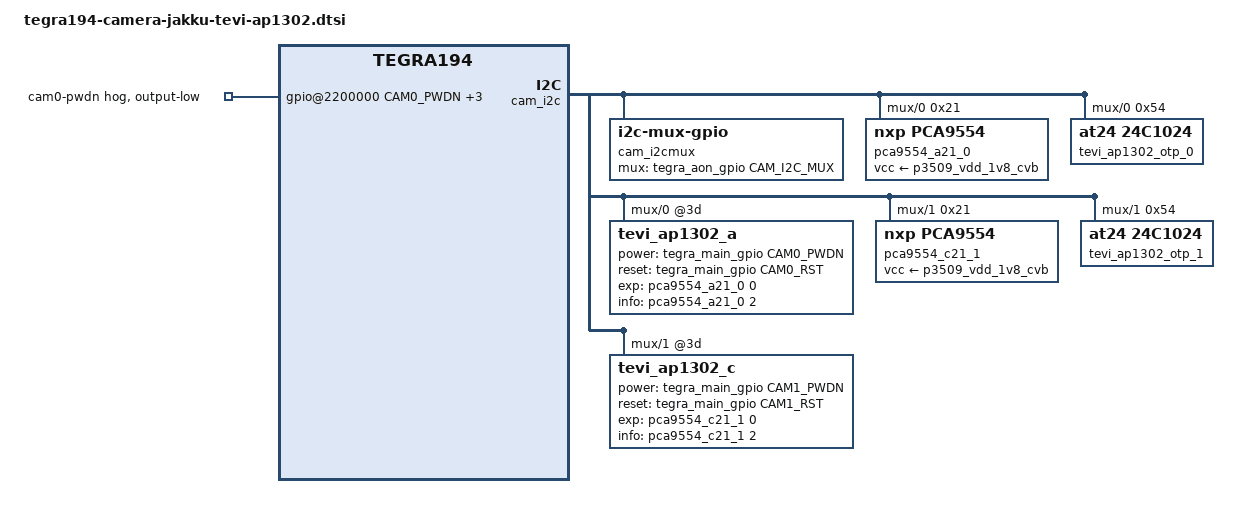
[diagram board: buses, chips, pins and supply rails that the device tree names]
/*
 * Copyright (c) 2018-2020, NVIDIA CORPORATION.  All rights reserved.
 *
 * This program is free software; you can redistribute it and/or modify
 * it under the terms of the GNU General Public License as published by
 * the Free Software Foundation; either version 2 of the License, or
 * (at your option) any later version.
 *
 * This program is distributed in the hope that it will be useful, but WITHOUT
 * ANY WARRANTY; without even the implied warranty of MERCHANTABILITY or
 * FITNESS FOR A PARTICULAR PURPOSE.  See the GNU General Public License for
 * more details.
 *
 * You should have received a copy of the GNU General Public License
 * along with this program.  If not, see <http://www.gnu.org/licenses/>.
 */

#include "tegra194-camera-tevi-ap1302.dtsi"

#define CAM0_PWDN	TEGRA194_MAIN_GPIO(P, 4)
#define CAM0_RST	TEGRA194_MAIN_GPIO(P, 0)
#define CAM1_PWDN	TEGRA194_MAIN_GPIO(P, 5)
#define CAM1_RST	TEGRA194_MAIN_GPIO(P, 1)
#define CAM_I2C_MUX 	TEGRA194_AON_GPIO(CC, 3)

/ {
	cam_i2cmux{
		compatible = "i2c-mux-gpio";
		#address-cells = <1>;
		#size-cells = <0>;
		i2c-parent = <&cam_i2c>;
		mux-gpios = <&tegra_aon_gpio CAM_I2C_MUX GPIO_ACTIVE_HIGH>;
		i2c@0 {
			reg = <0>;
			#address-cells = <1>;
			#size-cells = <0>;

			pca9554_a21_0: pca9554_a21@21 {
				compatible = "nxp,pca9554";
				reg = <0x21>;
				gpio-controller;
				#gpio-cells = <2>;
				vcc-supply = <&p3509_vdd_1v8_cvb>;
				vcc_lp = "vcc";
				status = "okay";
			};

			tevi_ap1302_otp_0: tevi_ap1302_otp@54 {
				compatible = "at24,24c1024";
				pagesize = <128>;
				reg = <0x54>;
				status = "okay";
			};

			tevi_ap1302_a@3d {
				power-gpios = <&tegra_main_gpio CAM0_PWDN GPIO_ACTIVE_HIGH>;
				reset-gpios = <&tegra_main_gpio CAM0_RST GPIO_ACTIVE_HIGH>;

				has-rpi-adapter;
				exp-gpios = <&pca9554_a21_0 0 GPIO_ACTIVE_HIGH>;
				info-gpios = <&pca9554_a21_0 2 GPIO_ACTIVE_HIGH>;

				nvmem = <&tevi_ap1302_otp_0>;
				nvmem-names = "calib-data";
				status = "okay";
			};
		};
		i2c@1 {
			reg = <1>;
			#address-cells = <1>;
			#size-cells = <0>;

			pca9554_c21_1: pca9554_c21@21 {
				compatible = "nxp,pca9554";
				reg = <0x21>;
				gpio-controller;
				#gpio-cells = <2>;
				vcc-supply = <&p3509_vdd_1v8_cvb>;
				vcc_lp = "vcc";
				status = "okay";
			};

			tevi_ap1302_otp_1: tevi_ap1302_otp@54 {
				compatible = "at24,24c1024";
				pagesize = <128>;
				reg = <0x54>;
				status = "okay";
			};

			tevi_ap1302_c@3d {
				power-gpios = <&tegra_main_gpio CAM1_PWDN GPIO_ACTIVE_HIGH>;
				reset-gpios = <&tegra_main_gpio CAM1_RST GPIO_ACTIVE_HIGH>;

				has-rpi-adapter;
				exp-gpios = <&pca9554_c21_1 0 GPIO_ACTIVE_HIGH>;
				info-gpios = <&pca9554_c21_1 2 GPIO_ACTIVE_HIGH>;

				nvmem = <&tevi_ap1302_otp_1>;
				nvmem-names = "calib-data";
				status = "okay";
			};
		};
	};

	gpio@2200000 {
		camera-control-output-low {
			gpio-hog;
			output-low;
			gpios = <CAM0_PWDN 0 CAM1_PWDN 0 CAM0_RST 0 CAM1_RST 0>;
			label = "cam0-pwdn","cam1-pwdn","cam0-rst","cam1-rst";
		};
	};
};
